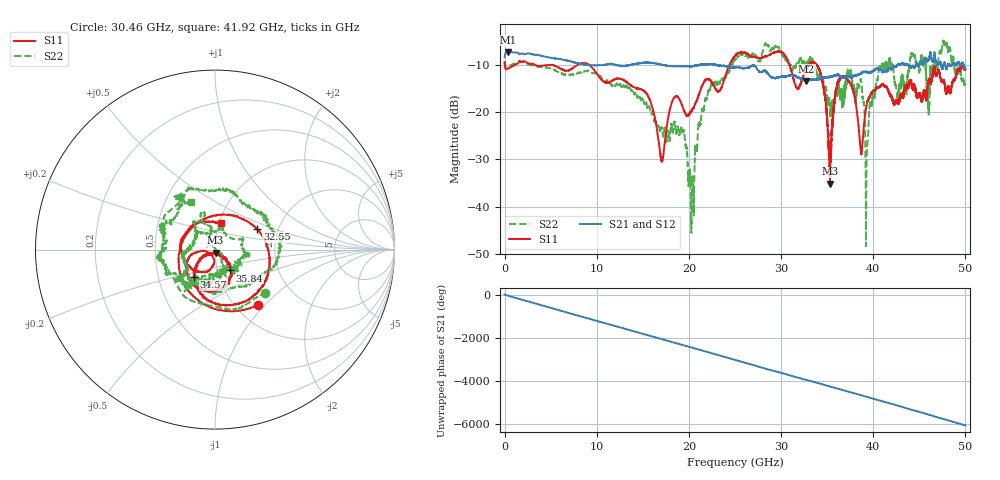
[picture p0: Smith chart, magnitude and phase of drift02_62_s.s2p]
!Created with skrf (http://scikit-rf.org).
# Hz S RI R 50.0
!freq ReS11 ImS11 ReS21 ImS21 ReS12 ImS12 ReS22 ImS22
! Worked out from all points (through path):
!   10001 points, 300 kHz to 50 GHz, reference 50 ohm
!   highest |S21| = -7.32 dB at 335.3 MHz (marker M1); lowest = -13.5 dB at 32.73 GHz (marker M2)
!   group delay of S21, straight-line fit = 335 ps
!   lowest |S11| = -35.1 dB at 35.31 GHz (marker M3), VSWR 1.04, Z = 50.3 - j1.74 ohm
!   |S11| at or under -10 dB: 3.225 GHz to 8.005 GHz (4.78 GHz wide, 85.1 % of centre); 9.107 GHz to 24.42 GHz (15.31 GHz wide, 91.3 % of centre); 33.85 GHz to end of sweep (the widest 3 of 9)
!   |S22| runs from -48.3 to -4.9 dB; largest |S21 - S12| = 0.016
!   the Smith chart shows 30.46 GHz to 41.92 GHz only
!   S11 on the Smith chart (normalised r, x): 30.46 GHz: 1.26, -0.91; 32.55 GHz: 1.56, +0.39; 34.57 GHz: 0.76, -0.24; 35.84 GHz: 1.15, -0.27; 41.92 GHz: 1.03, +0.31
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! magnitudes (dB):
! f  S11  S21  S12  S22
! 300 kHz  -9.5  -8.5  -8.4  -9.4
! 335.3 MHz  -10.9  -7.3  -7.3  -10.5
! 8.335 GHz  -9.7  -9.9  -9.9  -11.6
! 16.67 GHz  -25.6  -9.9  -9.9  -22.8
! 19.31 GHz  -18.9  -10.4  -10.3  -24.5
! 20.37 GHz  -19.6  -10.3  -10.3  -34.1
! 21.94 GHz  -13.1  -9.9  -10.0  -17.0
! 25 GHz  -8.2  -10.6  -10.6  -9.0
! 30.46 GHz  -8.2  -12.5  -12.4  -8.6
! 32.55 GHz  -11.6  -13.2  -13.4  -9.8
! 32.73 GHz  -10.9  -13.5  -13.5  -10.0
! 33.34 GHz  -9.5  -13.1  -13.2  -9.0
! 34.57 GHz  -14.3  -12.8  -12.7  -13.1
! 35.31 GHz  -35.1  -12.5  -12.5  -19.0
! 35.84 GHz  -16.9  -12.3  -12.3  -16.1
! 37.38 GHz  -13.6  -12.5  -12.5  -11.9
! 38.55 GHz  -26.2  -12.0  -12.0  -14.0
! 39.32 GHz  -18.2  -11.6  -11.6  -27.9
! 41.67 GHz  -15.8  -10.9  -11.0  -9.8
! 41.92 GHz  -16.4  -10.9  -11.0  -10.5
! 47.77 GHz  -14.4  -9.8  -9.8  -5.5
! 50 GHz  -11.1  -10.9  -10.7  -14.0
